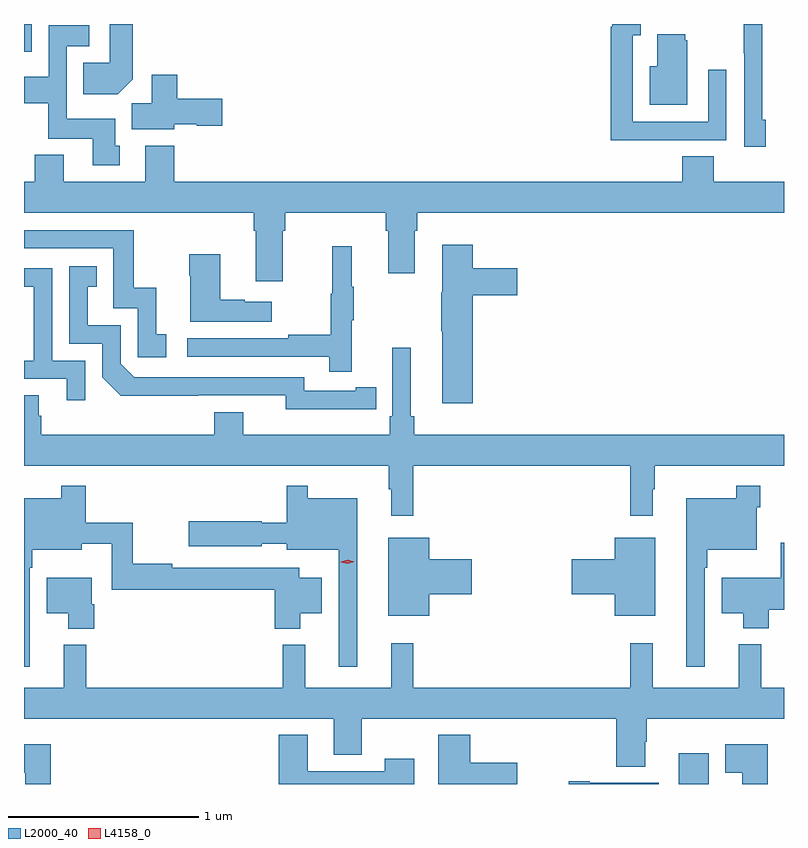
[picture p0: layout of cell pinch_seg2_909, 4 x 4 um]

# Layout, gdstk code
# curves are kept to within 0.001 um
import gdstk
lib = gdstk.Library(unit=1e-6, precision=1e-09)
def R(c, l, rs):  # rectangles x0, y0, x1, y1
    for r in rs: c.add(gdstk.rectangle(r[:2], r[2:], *l))
def P(c, l, *ps):  # polygons
    for p in ps: c.add(gdstk.Polygon(p, *l))
L2000_40 = (2000, 40)
L4158_0 = (4158, 0)

pinch_seg2_909 = lib.new_cell('pinch_seg2_909')
R(pinch_seg2_909, L2000_40, [(545.537,635.305,545.695,635.467), (542.09,639.158,542.13,639.305)])
P(pinch_seg2_909, L2000_40, [(545.471,638.694),(545.787,638.694),(545.787,639.064),(545.691,639.064),(545.691,638.79),(545.295,638.79),(545.295,639.247),(545.335,639.247),(545.335,639.305),(545.187,639.305),(545.187,639.29),(545.179,639.29),(545.179,638.693),(545.471,638.693)],
  [(545.995,638.802),(545.976,638.802),(545.976,639.305),(545.878,639.305),(545.878,639.151),(545.88,639.151),(545.88,638.658),(545.995,638.658)],
  [(542.662,639.014),(542.662,639.305),(542.54,639.305),(542.54,639.1),(542.401,639.1),(542.401,638.936),(542.584,638.936)],
  [(542.593,638.664),(542.569,638.664),(542.569,638.806),(542.316,638.806),(542.316,639.189),(542.434,639.189),(542.434,639.298),(542.22,639.298),(542.22,639.028),(542.09,639.028),(542.09,638.888),(542.218,638.888),(542.218,638.702),(542.453,638.702),(542.453,638.562),(542.593,638.562)],
  [(545.581,639.219),(545.57,639.219),(545.57,639.25),(545.423,639.25),(545.423,639.082),(545.384,639.082),(545.384,638.879),(545.581,638.879)],
  [(542.88,638.777),(543,638.777),(543,638.77),(543.133,638.77),(543.133,638.912),(542.897,638.912),(542.897,639.037),(542.762,639.037),(542.762,638.888),(542.657,638.888),(542.657,638.75),(542.88,638.75)],
  [(543.451,638.216),(543.464,638.216),(543.464,638.312),(543.995,638.312),(543.995,638.216),(544.007,638.216),(544.007,637.992),(544.147,637.992),(544.147,638.216),(544.16,638.216),(544.16,638.312),(546.09,638.312),(546.09,638.476),(545.72,638.476),(545.72,638.609),(545.555,638.609),(545.555,638.476),(542.882,638.476),(542.882,638.665),(542.729,638.665),(542.729,638.476),(542.299,638.476),(542.299,638.617),(542.147,638.617),(542.147,638.476),(542.09,638.476),(542.09,638.312),(543.299,638.312),(543.299,638.216),(543.311,638.216),(543.311,637.95),(543.451,637.95)],
  [(542.839,637.671),(542.786,637.671),(542.786,637.918),(542.668,637.918),(542.668,638.22),(542.09,638.22),(542.09,638.124),(542.559,638.124),(542.559,637.809),(542.688,637.809),(542.688,637.551),(542.839,637.551)],
  [(544.451,637.877),(544.687,637.877),(544.687,638.019),(544.451,638.019),(544.451,638.143),(544.292,638.143),(544.292,637.893),(544.285,637.893),(544.285,637.687),(544.292,637.687),(544.292,637.308),(544.451,637.308)],
  [(543.815,637.747),(543.826,637.747),(543.826,637.921),(543.815,637.921),(543.815,638.134),(543.712,638.134),(543.712,637.884),(543.705,637.884),(543.705,637.67),(543.481,637.67),(543.481,637.65),(542.949,637.65),(542.949,637.554),(543.697,637.554),(543.697,637.476),(543.815,637.476)],
  [(543.394,637.843),(543.251,637.843),(543.251,637.853),(543.124,637.853),(543.124,638.092),(542.959,638.092),(542.959,637.979),(542.966,637.979),(542.966,637.739),(543.394,637.739)],
  [(543.836,637.278),(543.944,637.278),(543.944,637.394),(543.836,637.394),(543.836,637.374),(543.564,637.374),(543.564,637.446),(542.67,637.446),(542.598,637.518),(542.598,637.719),(542.425,637.719),(542.425,637.923),(542.474,637.923),(542.474,638.029),(542.328,638.029),(542.328,637.623),(542.502,637.623),(542.502,637.446),(542.6,637.349),(543.468,637.35),(543.468,637.277)],
  [(542.412,637.533),(542.238,637.533),(542.238,638.019),(542.09,638.019),(542.09,637.922),(542.142,637.922),(542.142,637.533),(542.09,637.533),(542.09,637.437),(542.315,637.437),(542.315,637.326),(542.412,637.326)],
  [(544.016,637.144),(543.244,637.144),(543.244,637.261),(543.092,637.261),(543.092,637.144),(542.18,637.144),(542.18,637.242),(542.167,637.242),(542.167,637.352),(542.09,637.352),(542.09,636.98),(544.011,636.98),(544.011,636.857),(544.022,636.857),(544.022,636.717),(544.139,636.717),(544.139,636.98),(545.281,636.98),(545.281,636.717),(545.398,636.717),(545.398,636.857),(545.41,636.857),(545.41,636.98),(546.09,636.98),(546.09,637.144),(544.145,637.144),(544.145,637.24),(544.126,637.24),(544.126,637.6),(544.029,637.6),(544.029,637.24),(544.016,637.24)],
  [(545.673,636.443),(545.686,636.443),(545.686,636.539),(545.946,636.539),(545.946,636.761),(545.966,636.761),(545.966,636.874),(545.838,636.874),(545.838,636.808),(545.576,636.808),(545.576,635.922),(545.673,635.922)],
  [(542.121,636.443),(542.134,636.443),(542.134,636.539),(542.395,636.539),(542.395,636.569),(542.553,636.569),(542.553,636.328),(543.41,636.328),(543.41,636.122),(543.544,636.122),(543.544,636.203),(543.658,636.203),(543.658,636.391),(543.538,636.391),(543.538,636.444),(542.87,636.444),(542.87,636.464),(542.662,636.464),(542.662,636.679),(542.414,636.679),(542.414,636.874),(542.286,636.874),(542.286,636.808),(542.09,636.808),(542.09,635.922),(542.121,635.922)],
  [(543.844,636.808),(543.583,636.808),(543.583,636.874),(543.473,636.874),(543.473,636.679),(543.342,636.679),(543.342,636.687),(542.958,636.687),(542.958,636.557),(543.342,636.557),(543.342,636.57),(543.473,636.57),(543.473,636.539),(543.747,636.539),(543.747,635.922),(543.844,635.922)],
  [(545.413,636.601),(545.198,636.601),(545.198,636.488),(544.974,636.488),(544.974,636.305),(545.198,636.305),(545.198,636.191),(545.413,636.191)],
  [(544.222,636.305),(544.447,636.305),(544.447,636.488),(544.222,636.488),(544.222,636.601),(544.007,636.601),(544.007,636.191),(544.222,636.191)],
  [(546.011,636.221),(546.09,636.221),(546.09,636.574),(546.074,636.574),(546.074,636.391),(545.762,636.391),(545.762,636.203),(545.876,636.203),(545.876,636.125),(546.011,636.125)],
  [(542.459,636.251),(542.446,636.251),(542.446,636.391),(542.21,636.391),(542.21,636.203),(542.324,636.203),(542.324,636.122),(542.459,636.122)],
  [(545.359,635.528),(545.367,635.528),(545.367,635.648),(546.09,635.648),(546.09,635.812),(545.969,635.812),(545.969,636.04),(545.852,636.04),(545.852,635.812),(545.399,635.812),(545.399,636.046),(545.281,636.046),(545.281,635.812),(544.139,635.812),(544.139,636.046),(544.022,636.046),(544.022,635.812),(543.569,635.812),(543.569,636.037),(543.451,636.037),(543.451,635.812),(542.417,635.812),(542.417,636.037),(542.3,636.037),(542.3,635.812),(542.09,635.812),(542.09,635.648),(543.719,635.648),(543.719,635.458),(543.867,635.458),(543.867,635.648),(545.207,635.648),(545.207,635.396),(545.359,635.396)],
  [(544.144,635.437),(543.988,635.437),(543.988,635.373),(543.583,635.373),(543.583,635.563),(543.431,635.563),(543.431,635.305),(544.144,635.305)],
  [(544.687,635.416),(544.438,635.416),(544.438,635.563),(544.271,635.563),(544.271,635.305),(544.687,635.305)],
  [(546.005,635.515),(545.78,635.515),(545.78,635.363),(545.87,635.363),(545.87,635.305),(546.005,635.305)],
  [(542.231,635.515),(542.09,635.515),(542.09,635.363),(542.096,635.363),(542.096,635.305),(542.231,635.305)],
  [(545.431,635.311),(545.068,635.311),(545.068,635.319),(544.956,635.319),(544.956,635.305),(545.431,635.305)])
P(pinch_seg2_909, L4158_0, [(543.793,636.465),(543.758,636.473),(543.757,636.473),(543.758,636.474),(543.793,636.485),(543.829,636.476),(543.829,636.476),(543.829,636.476)])

lib.write_gds('pinch_seg2_909.gds')
